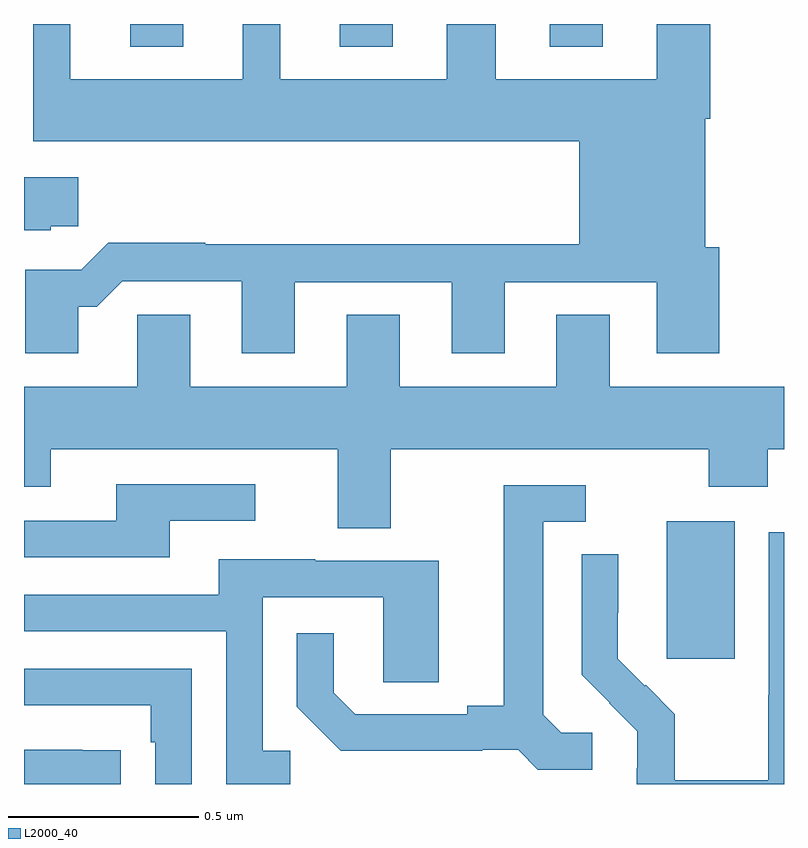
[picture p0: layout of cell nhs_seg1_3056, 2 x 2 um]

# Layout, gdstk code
import gdstk
lib = gdstk.Library(unit=1e-6, precision=1e-09)
def R(c, l, rs):  # rectangles x0, y0, x1, y1
    for r in rs: c.add(gdstk.rectangle(r[:2], r[2:], *l))
def A(c, l, x, y, w, h, nx, ny, dx, dy):  # array of equal rectangles
    R(c, l, [(x+i*dx, y+j*dy, x+i*dx+w, y+j*dy+h) for i in range(nx) for j in range(ny)])
def P(c, l, *ps):  # polygons
    for p in ps: c.add(gdstk.Polygon(p, *l))
L2000_40 = (2000, 40)

nhs_seg1_3056 = lib.new_cell('nhs_seg1_3056')
A(nhs_seg1_3056, L2000_40, 149.279, 538.139, 0.14, 0.06, 3, 1, 0.552, 0)
R(nhs_seg1_3056, L2000_40, [(150.692,536.529,150.871,536.89)])
P(nhs_seg1_3056, L2000_40, [(149.143,537.455),(149.192,537.455),(149.259,537.522),(149.573,537.522),(149.573,537.333),(149.713,537.333),(149.713,537.519),(150.125,537.519),(150.125,537.333),(150.265,537.333),(150.265,537.519),(150.665,537.519),(150.665,537.333),(150.83,537.333),(150.83,537.612),(150.793,537.612),(150.793,537.95),(150.806,537.95),(150.806,538.199),(150.665,538.199),(150.665,538.054),(150.241,538.054),(150.241,538.199),(150.113,538.199),(150.113,538.054),(149.674,538.054),(149.674,538.199),(149.576,538.199),(149.576,538.054),(149.122,538.054),(149.122,538.199),(149.024,538.199),(149.024,537.89),(150.461,537.89),(150.461,537.62),(149.477,537.62),(149.477,537.623),(149.222,537.623),(149.151,537.552),(149.003,537.552),(149.003,537.333),(149.143,537.333)],
  [(149.07,537.667),(149.143,537.667),(149.143,537.796),(149,537.796),(149,537.656),(149.07,537.656)],
  [(149.965,537.08),(150.802,537.08),(150.802,536.981),(150.957,536.981),(150.957,537.08),(151,537.08),(151,537.244),(150.541,537.244),(150.541,537.434),(150.401,537.434),(150.401,537.244),(149.989,537.244),(149.989,537.434),(149.849,537.434),(149.849,537.244),(149.437,537.244),(149.437,537.434),(149.298,537.434),(149.298,537.244),(149,537.244),(149,536.981),(149.071,536.981),(149.071,537.08),(149.825,537.08),(149.825,536.872),(149.965,536.872)],
  [(149.383,536.892),(149.608,536.892),(149.608,536.988),(149.243,536.988),(149.243,536.892),(149,536.892),(149,536.796),(149.383,536.796)],
  [(150.496,536.334),(150.414,536.334),(150.367,536.381),(150.367,536.889),(150.478,536.889),(150.478,536.985),(150.263,536.985),(150.263,536.405),(150.167,536.405),(150.167,536.382),(149.872,536.382),(149.815,536.439),(149.815,536.596),(149.718,536.596),(149.718,536.402),(149.834,536.286),(150.206,536.286),(150.206,536.289),(150.3,536.289),(150.352,536.237),(150.496,536.237)],
  [(151,536.862),(150.96,536.862),(150.96,536.432),(150.958,536.432),(150.958,536.209),(150.713,536.209),(150.713,536.383),(150.636,536.46),(150.633,536.457),(150.563,536.528),(150.563,536.65),(150.564,536.65),(150.564,536.804),(150.468,536.804),(150.468,536.486),(150.541,536.413),(150.54,536.412),(150.614,536.338),(150.614,536.241),(150.612,536.241),(150.612,536.199),(151,536.199)],
  [(149.701,536.286),(149.628,536.286),(149.628,536.691),(149.946,536.691),(149.946,536.467),(150.091,536.467),(150.091,536.787),(149.767,536.787),(149.767,536.791),(149.513,536.791),(149.513,536.697),(149,536.697),(149,536.601),(149.532,536.601),(149.532,536.199),(149.701,536.199)],
  [(149.442,536.502),(149,536.502),(149,536.406),(149.333,536.406),(149.333,536.309),(149.346,536.309),(149.346,536.199),(149.442,536.199)],
  [(149.255,536.288),(149.153,536.288),(149.153,536.289),(149,536.289),(149,536.199),(149.255,536.199)])

lib.write_gds('nhs_seg1_3056.gds')
